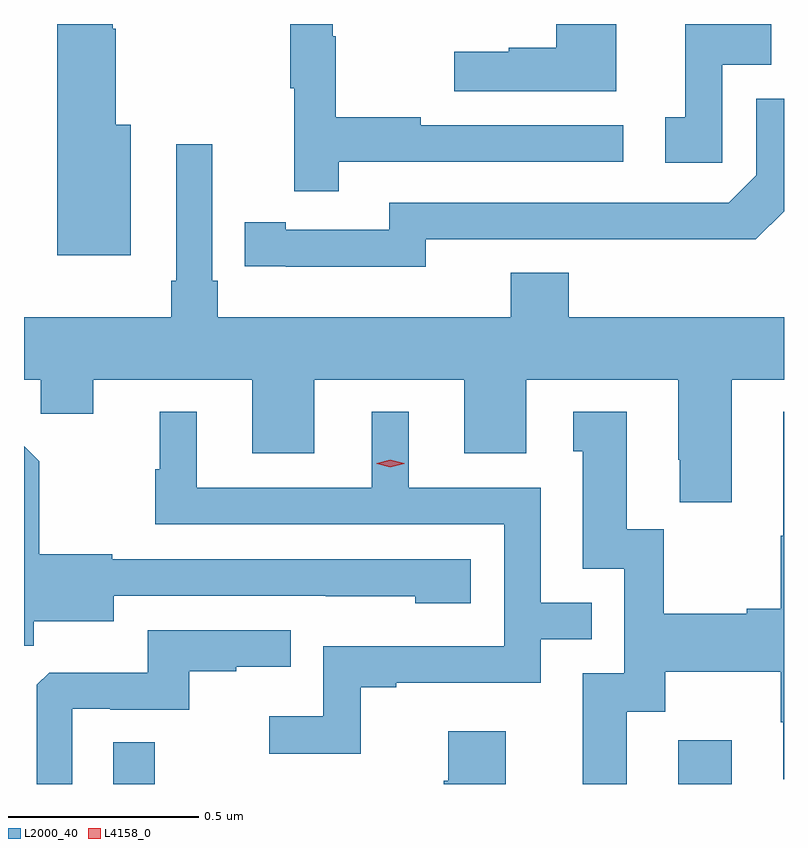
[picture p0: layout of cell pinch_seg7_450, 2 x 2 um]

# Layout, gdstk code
import gdstk
lib = gdstk.Library(unit=1e-6, precision=1e-09)
def R(c, l, rs):  # rectangles x0, y0, x1, y1
    for r in rs: c.add(gdstk.rectangle(r[:2], r[2:], *l))
def P(c, l, *ps):  # polygons
    for p in ps: c.add(gdstk.Polygon(p, *l))
L2000_40 = (2000, 40)
L4158_0 = (4158, 0)

pinch_seg7_450 = lib.new_cell('pinch_seg7_450')
R(pinch_seg7_450, L2000_40, [(287.61,1054.164,287.719,1054.274), (289.097,1054.164,289.237,1054.279)])
P(pinch_seg7_450, L2000_40, [(288.934,1056.164),(288.776,1056.164),(288.776,1056.101),(288.65,1056.101),(288.65,1056.091),(288.507,1056.091),(288.507,1055.987),(288.934,1055.987)],
  [(289.212,1056.057),(289.341,1056.057),(289.341,1056.164),(289.115,1056.164),(289.115,1055.919),(289.062,1055.919),(289.062,1055.799),(289.212,1055.799)],
  [(287.656,1055.899),(287.616,1055.899),(287.616,1056.152),(287.608,1056.152),(287.608,1056.164),(287.462,1056.164),(287.462,1055.555),(287.656,1055.555)],
  [(288.203,1055.802),(288.952,1055.802),(288.952,1055.898),(288.419,1055.898),(288.419,1055.918),(288.196,1055.918),(288.196,1056.132),(288.188,1056.132),(288.188,1056.164),(288.075,1056.164),(288.075,1055.995),(288.086,1055.995),(288.086,1055.724),(288.203,1055.724)],
  [(288.432,1055.598),(288.892,1055.598),(288.892,1055.597),(289.3,1055.597),(289.375,1055.671),(289.375,1055.967),(289.302,1055.967),(289.302,1055.766),(289.23,1055.694),(288.336,1055.694),(288.336,1055.622),(288.064,1055.622),(288.064,1055.642),(287.956,1055.642),(287.956,1055.526),(288.064,1055.526),(288.064,1055.525),(288.432,1055.525)],
  [(289.237,1055.228),(289.375,1055.228),(289.375,1055.392),(288.809,1055.392),(288.809,1055.509),(288.656,1055.509),(288.656,1055.392),(287.885,1055.392),(287.885,1055.488),(287.871,1055.488),(287.871,1055.848),(287.775,1055.848),(287.775,1055.488),(287.763,1055.488),(287.763,1055.392),(287.375,1055.392),(287.375,1055.228),(287.419,1055.228),(287.419,1055.138),(287.557,1055.138),(287.557,1055.228),(287.975,1055.228),(287.975,1055.034),(288.139,1055.034),(288.139,1055.228),(288.533,1055.228),(288.533,1055.034),(288.697,1055.034),(288.697,1055.228),(289.097,1055.228),(289.097,1055.017),(289.1,1055.017),(289.1,1054.905),(289.237,1054.905)],
  [(288.261,1054.419),(288.355,1054.419),(288.355,1054.431),(288.735,1054.431),(288.735,1054.545),(288.869,1054.545),(288.869,1054.641),(288.735,1054.641),(288.735,1054.944),(288.388,1054.944),(288.388,1055.143),(288.29,1055.143),(288.29,1054.944),(287.83,1054.944),(287.83,1055.143),(287.732,1055.143),(287.732,1054.992),(287.721,1054.992),(287.721,1054.848),(288.639,1054.848),(288.639,1054.527),(288.162,1054.527),(288.162,1054.342),(288.021,1054.342),(288.021,1054.244),(288.261,1054.244)],
  [(288.961,1054.354),(289.063,1054.354),(289.063,1054.46),(289.366,1054.46),(289.366,1054.326),(289.373,1054.326),(289.373,1054.176),(289.375,1054.176),(289.375,1055.143),(289.373,1055.143),(289.373,1054.817),(289.366,1054.817),(289.366,1054.625),(289.277,1054.625),(289.277,1054.612),(289.059,1054.612),(289.059,1054.835),(288.961,1054.835),(288.961,1055.143),(288.821,1055.143),(288.821,1055.04),(288.845,1055.04),(288.845,1054.731),(288.954,1054.731),(288.954,1054.455),(288.845,1054.455),(288.845,1054.164),(288.961,1054.164)],
  [(287.4,1054.592),(287.611,1054.592),(287.611,1054.659),(288.169,1054.659),(288.169,1054.658),(288.405,1054.658),(288.405,1054.64),(288.55,1054.64),(288.55,1054.755),(287.607,1054.755),(287.607,1054.768),(287.415,1054.768),(287.415,1055.013),(287.375,1055.053),(287.375,1054.528),(287.4,1054.528)],
  [(287.502,1054.362),(287.602,1054.362),(287.602,1054.359),(287.81,1054.359),(287.81,1054.461),(287.933,1054.461),(287.933,1054.472),(288.077,1054.472),(288.077,1054.569),(287.7,1054.569),(287.7,1054.457),(287.441,1054.457),(287.409,1054.425),(287.409,1054.164),(287.502,1054.164)],
  [(288.643,1054.303),(288.491,1054.303),(288.491,1054.173),(288.479,1054.173),(288.479,1054.164),(288.643,1054.164)])
P(pinch_seg7_450, L4158_0, [(288.339,1054.997),(288.303,1055.007),(288.303,1055.007),(288.303,1055.008),(288.339,1055.017),(288.375,1055.008),(288.375,1055.007),(288.375,1055.007)])

lib.write_gds('pinch_seg7_450.gds')
